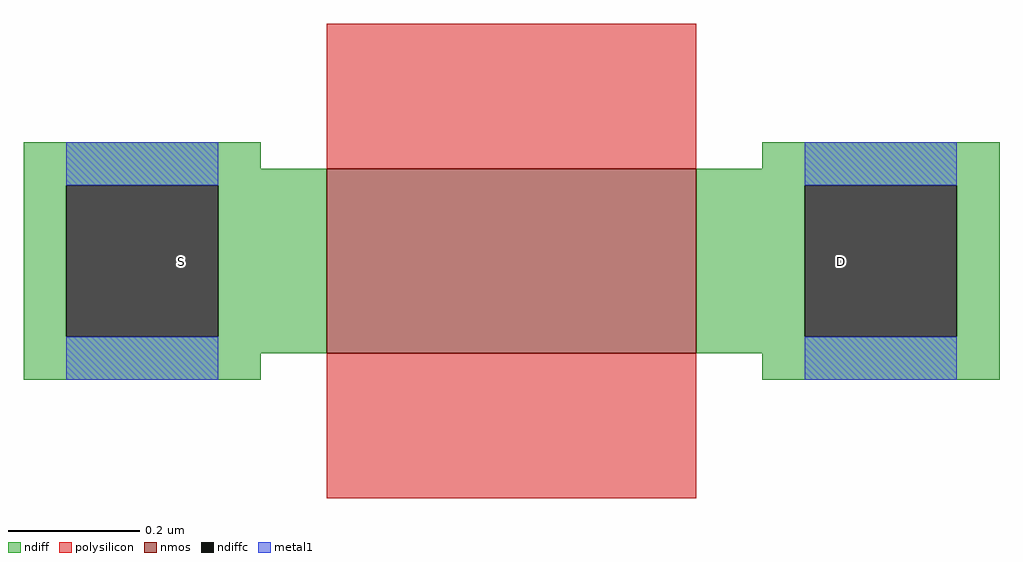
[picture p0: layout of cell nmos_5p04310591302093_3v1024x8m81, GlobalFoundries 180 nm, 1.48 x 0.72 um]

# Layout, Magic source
magic
tech gf180mcuD
magscale 1 10
<< nmos >>
rect 0 0 112 56
<< ndiff >>
rect -92 56 -20 64
rect 132 56 204 64
rect -92 51 0 56
rect -92 5 -79 51
rect -33 5 0 51
rect -92 0 0 5
rect 112 51 204 56
rect 112 5 145 51
rect 191 5 204 51
rect 112 0 204 5
rect -92 -8 -20 0
rect 132 -8 204 0
<< ndiffc >>
rect -79 5 -33 51
rect 145 5 191 51
<< polysilicon >>
rect 0 56 112 100
rect 0 -44 112 0
<< metal1 >>
rect -79 51 -33 64
rect -79 -8 -33 5
rect 145 51 191 64
rect 145 -8 191 5
<< labels >>
flabel ndiffc -44 28 -44 28 0 FreeSans 93 0 0 0 S
flabel ndiffc 156 28 156 28 0 FreeSans 93 0 0 0 D
<< end >>
